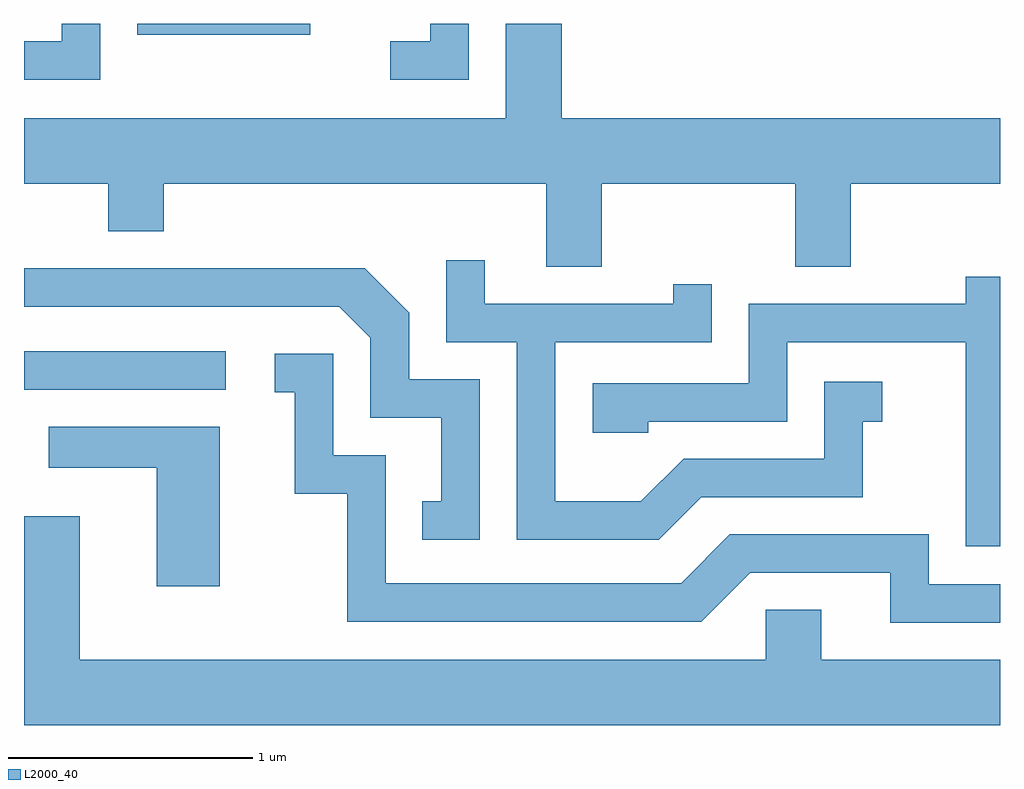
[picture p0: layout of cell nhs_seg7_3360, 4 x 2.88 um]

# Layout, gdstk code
import gdstk
lib = gdstk.Library(unit=1e-6, precision=1e-09)
def R(c, l, rs):  # rectangles x0, y0, x1, y1
    for r in rs: c.add(gdstk.rectangle(r[:2], r[2:], *l))
def P(c, l, *ps):  # polygons
    for p in ps: c.add(gdstk.Polygon(p, *l))
L2000_40 = (2000, 40)

nhs_seg7_3360 = lib.new_cell('nhs_seg7_3360')
R(nhs_seg7_3360, L2000_40, [(287.611,1766.751,288.438,1766.909), (288.076,1768.206,288.784,1768.252)])
P(nhs_seg7_3360, L2000_40, [(289.979,1767.596),(290.771,1767.596),(290.771,1767.256),(290.999,1767.256),(290.999,1767.596),(291.611,1767.596),(291.611,1767.864),(289.814,1767.864),(289.814,1768.252),(289.586,1768.252),(289.586,1767.864),(287.611,1767.864),(287.611,1767.596),(287.956,1767.596),(287.956,1767.401),(288.184,1767.401),(288.184,1767.596),(289.751,1767.596),(289.751,1767.256),(289.979,1767.256)],
  [(287.924,1768.252),(287.766,1768.252),(287.766,1768.179),(287.611,1768.179),(287.611,1768.021),(287.924,1768.021)],
  [(289.434,1768.252),(289.276,1768.252),(289.276,1768.179),(289.113,1768.179),(289.113,1768.021),(289.434,1768.021)],
  [(290.387,1766.311),(291.049,1766.311),(291.049,1766.621),(291.128,1766.621),(291.128,1766.784),(290.891,1766.784),(290.891,1766.469),(290.314,1766.469),(290.139,1766.294),(289.789,1766.294),(289.789,1766.946),(290.429,1766.946),(290.429,1767.183),(290.271,1767.183),(290.271,1767.104),(289.499,1767.104),(289.499,1767.283),(289.341,1767.283),(289.341,1766.946),(289.631,1766.946),(289.631,1766.136),(290.212,1766.136)],
  [(289.479,1766.794),(289.189,1766.794),(289.189,1767.067),(289.007,1767.249),(287.611,1767.249),(287.611,1767.091),(288.904,1767.091),(289.031,1766.964),(289.031,1766.636),(289.321,1766.636),(289.321,1766.294),(289.243,1766.294),(289.243,1766.136),(289.479,1766.136)],
  [(291.611,1767.214),(291.471,1767.214),(291.471,1767.104),(290.581,1767.104),(290.581,1766.779),(289.941,1766.779),(289.941,1766.576),(290.169,1766.576),(290.169,1766.621),(290.739,1766.621),(290.739,1766.946),(291.471,1766.946),(291.471,1766.111),(291.611,1766.111)],
  [(291.611,1765.954),(291.319,1765.954),(291.319,1766.159),(290.504,1766.159),(290.304,1765.959),(289.094,1765.959),(289.094,1766.484),(288.879,1766.484),(288.879,1766.899),(288.638,1766.899),(288.638,1766.741),(288.721,1766.741),(288.721,1766.326),(288.936,1766.326),(288.936,1765.801),(290.387,1765.801),(290.587,1766.001),(291.161,1766.001),(291.161,1765.796),(291.611,1765.796)],
  [(288.414,1766.599),(287.713,1766.599),(287.713,1766.431),(288.156,1766.431),(288.156,1765.946),(288.414,1765.946)],
  [(291.611,1765.644),(290.879,1765.644),(290.879,1765.849),(290.651,1765.849),(290.651,1765.644),(287.839,1765.644),(287.839,1766.234),(287.611,1766.234),(287.611,1765.376),(291.611,1765.376)])

lib.write_gds('nhs_seg7_3360.gds')
